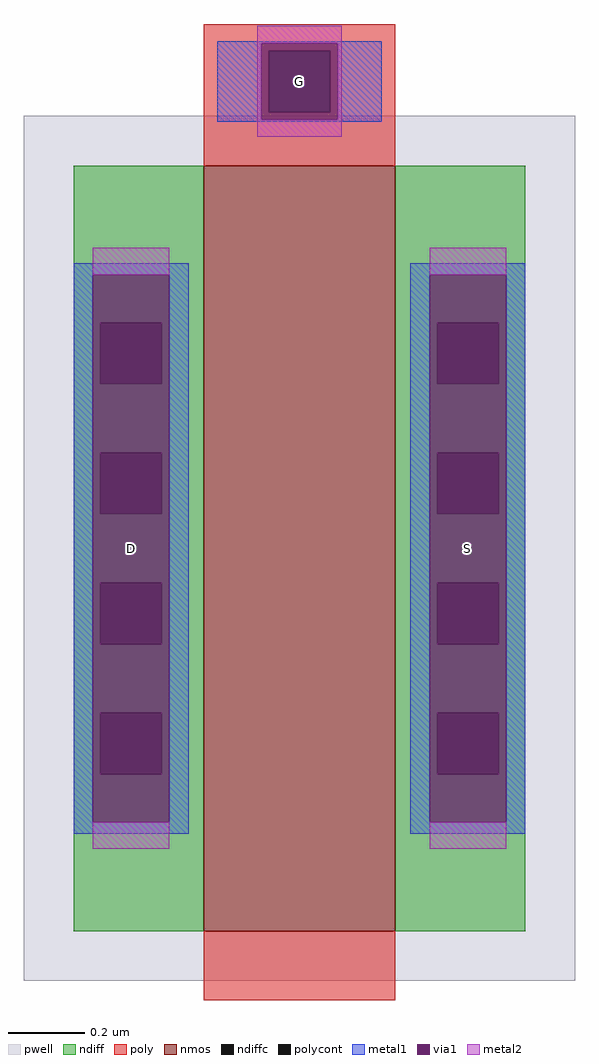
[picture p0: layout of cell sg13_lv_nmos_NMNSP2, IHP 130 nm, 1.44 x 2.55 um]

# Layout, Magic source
magic
tech ihp-sg13g2
magscale 1 2
<< pwell >>
rect -144 -245 144 207
<< nmos >>
rect -50 -219 50 181
<< ndiff >>
rect -118 99 -50 181
rect -118 67 -104 99
rect -72 67 -50 99
rect -118 31 -50 67
rect -118 -1 -104 31
rect -72 -1 -50 31
rect -118 -37 -50 -1
rect -118 -69 -104 -37
rect -72 -69 -50 -37
rect -118 -105 -50 -69
rect -118 -137 -104 -105
rect -72 -137 -50 -105
rect -118 -219 -50 -137
rect 50 99 118 181
rect 50 67 72 99
rect 104 67 118 99
rect 50 31 118 67
rect 50 -1 72 31
rect 104 -1 118 31
rect 50 -37 118 -1
rect 50 -69 72 -37
rect 104 -69 118 -37
rect 50 -105 118 -69
rect 50 -137 72 -105
rect 104 -137 118 -105
rect 50 -219 118 -137
<< ndiffc >>
rect -104 67 -72 99
rect -104 -1 -72 31
rect -104 -69 -72 -37
rect -104 -137 -72 -105
rect 72 67 104 99
rect 72 -1 104 31
rect 72 -69 104 -37
rect 72 -137 104 -105
<< poly >>
rect -50 241 50 255
rect -50 209 -16 241
rect 16 209 50 241
rect -50 181 50 209
rect -50 -255 50 -219
<< polycont >>
rect -16 209 16 241
<< metal1 >>
rect -43 245 43 246
rect -43 205 -20 245
rect 20 205 43 245
rect -43 204 43 205
rect -118 124 -58 130
rect -118 -162 -108 124
rect -68 -162 -58 124
rect -118 -168 -58 -162
rect 58 124 118 130
rect 58 -162 68 124
rect 108 -162 118 124
rect 58 -168 118 -162
<< via1 >>
rect -20 241 20 245
rect -20 209 -16 241
rect -16 209 16 241
rect 16 209 20 241
rect -20 205 20 209
rect -108 99 -68 124
rect -108 67 -104 99
rect -104 67 -72 99
rect -72 67 -68 99
rect -108 31 -68 67
rect -108 -1 -104 31
rect -104 -1 -72 31
rect -72 -1 -68 31
rect -108 -37 -68 -1
rect -108 -69 -104 -37
rect -104 -69 -72 -37
rect -72 -69 -68 -37
rect -108 -105 -68 -69
rect -108 -137 -104 -105
rect -104 -137 -72 -105
rect -72 -137 -68 -105
rect -108 -162 -68 -137
rect 68 99 108 124
rect 68 67 72 99
rect 72 67 104 99
rect 104 67 108 99
rect 68 31 108 67
rect 68 -1 72 31
rect 72 -1 104 31
rect 104 -1 108 31
rect 68 -37 108 -1
rect 68 -69 72 -37
rect 72 -69 104 -37
rect 104 -69 108 -37
rect 68 -105 108 -69
rect 68 -137 72 -105
rect 72 -137 104 -105
rect 104 -137 108 -105
rect 68 -162 108 -137
<< metal2 >>
rect -22 245 22 254
rect -22 205 -20 245
rect 20 205 22 245
rect -22 196 22 205
rect -108 124 -68 138
rect -108 -176 -68 -162
rect 68 124 108 138
rect 68 -176 108 -162
<< labels >>
rlabel metal1 s -88 -19 -88 -19 4 D
rlabel metal1 s 88 -19 88 -19 4 S
rlabel metal1 s 0 225 0 225 4 G
<< end >>
